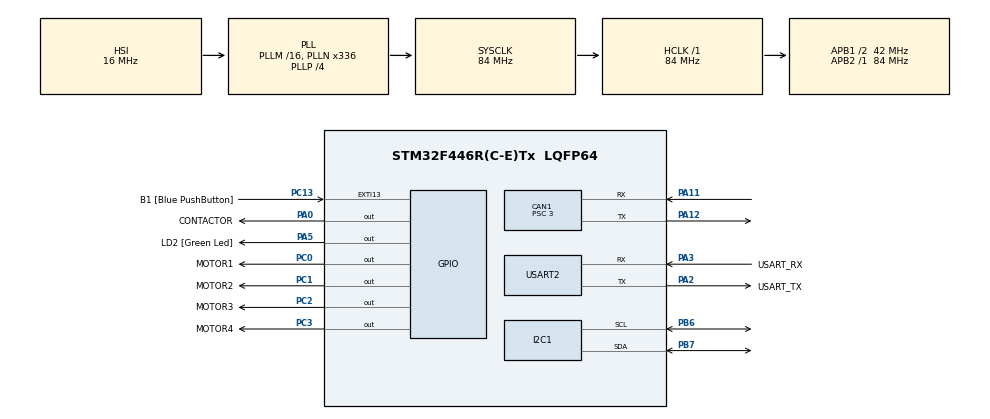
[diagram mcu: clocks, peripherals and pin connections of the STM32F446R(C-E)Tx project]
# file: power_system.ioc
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CAN1.BS1=CAN_BS1_11TQ
CAN1.BS2=CAN_BS2_2TQ
CAN1.CalculateBaudRate=1000000
CAN1.CalculateTimeBit=1000
CAN1.CalculateTimeQuantum=71.42857142857143
CAN1.Prescaler=3
I2C1.I2C_Mode=I2C_Fast
Mcu.Family=STM32F4
Mcu.Name=STM32F446R(C-E)Tx
Mcu.Package=LQFP64
NVIC.PriorityGroup=NVIC_PRIORITYGROUP_0
NVIC.USART2_IRQn=true\:0\:0\:false\:false\:true\:true\:true\:true
PA0-WKUP.GPIO_Label=CONTACTOR
PA0-WKUP.Signal=GPIO_Output
PA11.Mode=CAN_Activate
PA11.Signal=CAN1_RX
PA12.Mode=CAN_Activate
PA12.Signal=CAN1_TX
PA13.GPIO_Label=TMS
PA13.Mode=Serial_Wire
PA13.Signal=SYS_JTMS-SWDIO
PA14.GPIO_Label=TCK
PA14.Mode=Serial_Wire
PA14.Signal=SYS_JTCK-SWCLK
PA2.GPIO_Label=USART_TX
PA2.Mode=Asynchronous
PA2.Signal=USART2_TX
PA3.GPIO_Label=USART_RX
PA3.Mode=Asynchronous
PA3.Signal=USART2_RX
PA5.GPIO_Label=LD2 [Green Led]
PA5.Signal=GPIO_Output
PB3.GPIO_Label=SWO
PB3.Signal=SYS_JTDO-SWO
PB6.Mode=I2C
PB6.Signal=I2C1_SCL
PB7.Mode=I2C
PB7.Signal=I2C1_SDA
PC0.GPIO_Label=MOTOR1
PC0.Signal=GPIO_Output
PC1.GPIO_Label=MOTOR2
PC1.Signal=GPIO_Output
PC13.GPIO_Label=B1 [Blue PushButton]
PC13.GPIO_ModeDefaultEXTI=GPIO_MODE_IT_FALLING
PC13.Signal=GPXTI13
PC14-OSC32_IN.Mode=LSE-External-Oscillator
PC14-OSC32_IN.Signal=RCC_OSC32_IN
PC15-OSC32_OUT.Mode=LSE-External-Oscillator
PC15-OSC32_OUT.Signal=RCC_OSC32_OUT
PC2.GPIO_Label=MOTOR3
PC2.Signal=GPIO_Output
PC3.GPIO_Label=MOTOR4
PC3.Signal=GPIO_Output
PH0-OSC_IN.Mode=HSE-External-Oscillator
PH0-OSC_IN.Signal=RCC_OSC_IN
PH1-OSC_OUT.Mode=HSE-External-Oscillator
PH1-OSC_OUT.Signal=RCC_OSC_OUT
ProjectManager.HeapSize=0x200
ProjectManager.StackSize=0x400
ProjectManager.TargetToolchain=STM32CubeIDE
RCC.48MHZClocksFreq_Value=84000000
RCC.AHBFreq_Value=84000000
RCC.APB1CLKDivider=RCC_HCLK_DIV2
RCC.APB1Freq_Value=42000000
RCC.APB1TimFreq_Value=84000000
RCC.APB2Freq_Value=84000000
RCC.APB2TimFreq_Value=84000000
RCC.CortexFreq_Value=84000000
RCC.FLatency-AdvancedSettings=FLASH_LATENCY_2
RCC.HCLKFreq_Value=84000000
RCC.HSE_VALUE=8000000
RCC.HSI_VALUE=16000000
RCC.PLLN=336
RCC.PLLP=RCC_PLLP_DIV4
RCC.SYSCLKFreq_VALUE=84000000
RCC.SYSCLKSource=RCC_SYSCLKSOURCE_PLLCLK
RCC.USBFreq_Value=168000000
RCC.VCOOutputFreq_Value=336000000
USART2.VirtualMode=VM_ASYNC
board=NUCLEO-F446RE

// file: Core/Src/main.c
/* USER CODE BEGIN Header */
/**
  ********************************************************************************************************
  * @file           : main.c
  * @brief          : Main program body - precharge FSM + UART for Data Visualization + CAN for Dashboard
  *
  * Application entry point for the exoskeleton power architecture firmware.
  *
  * Initializes all STM32 peripherals (GPIO, USART2, I2C1, CAN1), then runs
  * three concurrent tasks in the main loop:
  *
  *   1. Precharge FSM — manages contactor/relay sequencing and fault detection.
  *   2. CAN telemetry — broadcasts INA228 sensor data to the dashboard every 100 ms.
  *   3. UART data logger — on receiving a "START,<rate>,<time>" command from the
  *      host PC, acquires bus sensor samples and streams them back as CSV for plotting by data_log.py.
  *
  ********************************************************************************************************
  */

#include "main.h"
#include "can.h"
#include "i2c.h"
#include "usart.h"
#include "gpio.h"
#include "precharge.h"
#include "ina228_driver.h"
#include "telemetry.h"
#include <stdio.h>
#include <string.h>
#include <stdlib.h>

#define CAN_TX_INTERVAL_MS = 100
#define RX_BUF_SIZE  64
#define MAX_SAMPLES  2000

/* Global variables (telemetry)*/
uint32_t last_can_tx_time = 0;

uint8_t uart_rx_byte;
volatile uint8_t uart_line_ready = 0;

char rx_buf[RX_BUF_SIZE];
int  rx_index;

int sampling_rate = 0;   // Hz
int total_time = 0;      // seconds
int num_samples = 0;

float voltage_buf[MAX_SAMPLES];
float current_buf[MAX_SAMPLES];
float power_buf[MAX_SAMPLES];

/* Private function prototypes */
void SystemClock_Config(void);

static int  Parse_Command(void);
static void Acquire_Data(void);
static void Transmit_Data(void);

int main(void)
{

  /* Reset of all peripherals, Initializes the Flash interface and the Systick. */
  HAL_Init();

  /* Configure the system clock */
  SystemClock_Config();

  /* Initialize all configured peripherals */
  MX_GPIO_Init();
  MX_USART2_UART_Init();
  MX_I2C1_Init();
  MX_CAN1_Init();

  // Initialize precharge FSM (also initializes all 5 INA228 sensors internally)
  precharge_control_init();

  // Initialize CAN telemetry
  HAL_CAN_Start(&hcan1);
  telemetry_init();

  // Uncomment to verify I2C communication
  //uint16_t id;
  //INA228_ReadManufacturerID(INA228_ADDR1, &id); // Should be 0x5449
  //HAL_UART_Transmit(&huart2, (uint16_t *)&id, 1, 100);

  /* Main Loop */
  while (1) {
    // Precharge FSM tick (sensors internally polled on SENSOR_POLL_INTERVAL_MS)
    precharge_fsm_tick();

    // CAN telemetry
    uint32_t now = HAL_GetTick();
    if (now - last_can_tx_time >= can_tx_interval_ms) {
        telemetry_tick();
        last_can_tx_time = now;
    }

    // Check for UART interrupt
    if (uart_line_ready) {
      uart_line_ready = 0; // Clear interrupt

      if (Parse_Command()) {
        const char ok[] = "OK\n"; // Response for Python script to check
        HAL_UART_Transmit(&huart2, (uint8_t *)ok, sizeof(ok) - 1, HAL_MAX_DELAY);
        Acquire_Data();
        Transmit_Data();
      } else {
        const char err[] = "ERR\n"; // Response for Python script to check
        HAL_UART_Transmit(&huart2, (uint8_t *)err, sizeof(err) - 1, HAL_MAX_DELAY);
      }
    }
  }
}

void SystemClock_Config(void)
{
  RCC_OscInitTypeDef RCC_OscInitStruct = {0};
  RCC_ClkInitTypeDef RCC_ClkInitStruct = {0};

  /** Configure the main internal regulator output voltage
  */
  __HAL_RCC_PWR_CLK_ENABLE();
  __HAL_PWR_VOLTAGESCALING_CONFIG(PWR_REGULATOR_VOLTAGE_SCALE3);

  /** Initializes the RCC Oscillators according to the specified parameters
  * in the RCC_OscInitTypeDef structure.
  */
  RCC_OscInitStruct.OscillatorType = RCC_OSCILLATORTYPE_HSI;
  RCC_OscInitStruct.HSIState = RCC_HSI_ON;
  RCC_OscInitStruct.HSICalibrationValue = RCC_HSICALIBRATION_DEFAULT;
  RCC_OscInitStruct.PLL.PLLState = RCC_PLL_ON;
  RCC_OscInitStruct.PLL.PLLSource = RCC_PLLSOURCE_HSI;
  RCC_OscInitStruct.PLL.PLLM = 16;
  RCC_OscInitStruct.PLL.PLLN = 336;
  RCC_OscInitStruct.PLL.PLLP = RCC_PLLP_DIV4;
  RCC_OscInitStruct.PLL.PLLQ = 2;
  RCC_OscInitStruct.PLL.PLLR = 2;
  if (HAL_RCC_OscConfig(&RCC_OscInitStruct) != HAL_OK)
  {
    Error_Handler();
  }

  /** Initializes the CPU, AHB and APB buses clocks
  */
  RCC_ClkInitStruct.ClockType = RCC_CLOCKTYPE_HCLK|RCC_CLOCKTYPE_SYSCLK
                              |RCC_CLOCKTYPE_PCLK1|RCC_CLOCKTYPE_PCLK2;
  RCC_ClkInitStruct.SYSCLKSource = RCC_SYSCLKSOURCE_PLLCLK;
  RCC_ClkInitStruct.AHBCLKDivider = RCC_SYSCLK_DIV1;
  RCC_ClkInitStruct.APB1CLKDivider = RCC_HCLK_DIV2;
  RCC_ClkInitStruct.APB2CLKDivider = RCC_HCLK_DIV1;

  if (HAL_RCC_ClockConfig(&RCC_ClkInitStruct, FLASH_LATENCY_2) != HAL_OK)
  {
    Error_Handler();
  }
}

/* USER CODE BEGIN 4 */

// ISR for every time 1 byte (1 char) is received
void HAL_UART_RxCpltCallback(UART_HandleTypeDef *huart) {
    if (huart->Instance == USART2) {
        if (uart_rx_byte == '\n') { 	// Detect line completion
            rx_buf[rx_index] = '\0';	// Null-terminate the string
            uart_line_ready = 1;   		// Signal to main loop
            rx_index = 0;				// Reset for next line
        } else if (rx_index < RX_BUF_SIZE - 1) {
            rx_buf[rx_index++] = (char)uart_rx_byte; // Add char to buffer
        }
        HAL_UART_Receive_IT(&huart2, &uart_rx_byte, 1); // Re-arm interrupt for next byte
    }
}

/**
  * @brief UART: Parse command "START,<rate_hz>,<time_s>"
  * @retval 1 on valid command, 0 on error
  */
static int Parse_Command(void)
{
    if (strncmp(rx_buf, "START", 5) != 0) return 0;

    char *tok = strtok(rx_buf, ",");
    tok = strtok(NULL, ",");
    if (!tok) return 0;
    sampling_rate = atoi(tok);

    tok = strtok(NULL, ",");
    if (!tok) return 0;
    total_time = atoi(tok);

    if (sampling_rate <= 0 || total_time <= 0) return 0;

    num_samples = sampling_rate * total_time;
    if (num_samples > MAX_SAMPLES)
        num_samples = MAX_SAMPLES;

    return 1;
}

/**
  * @brief UART: Acquire data from bus sensor
  *
  * To log a different sensor, change INA228_BUS + BUS_CURRENT_LSB + BUS_POWER_LSB to the desired location and LSB constants
  */
static void Acquire_Data(void)
{
	SensorData_t sensor;
	get_sensor_data(INA228_BUS, &sensor);

    if (!sensor.healthy)
    {
        FaultType_t fault = get_current_fault();
        const char *fault_msg = NULL;

        switch (fault) {
			case FAULT_BUS_OVERCURRENT:
			  fault_msg = "FAULT_BUS_OVERCURRENT\n";
			  break;
			case FAULT_BUS_OVERVOLTAGE:
			  fault_msg = "FAULT_BUS_OVERVOLTAGE\n";
			  break;
			case FAULT_BUS_UNDERVOLTAGE:
			  fault_msg = "FAULT_BUS_UNDERVOLTAGE\n";
			  break;
			case FAULT_MOTOR_OVERCURRENT:
			  fault_msg = "FAULT_MOTOR_OVERCURRENT\n";
			  break;
			default:
			  fault_msg = "FAULT_UNKNOWN\n";
			  break;
		}

        if (fault_msg)
            HAL_UART_Transmit(&huart2, (uint8_t *)fault_msg, strlen(fault_msg), HAL_MAX_DELAY);

        for (int i = 0; i < num_samples; i++)
            voltage_buf[i] = current_buf[i] = power_buf[i] = 0.0f;
        return;
    }

    uint32_t delay_ms = (sampling_rate > 0) ? (1000 / sampling_rate) : 1;

    for (int i = 0; i < num_samples; i++)
    {
    	precharge_fsm_tick();
    	get_sensor_data(INA228_BUS, &sensor);
        voltage_buf[i] = sensor.voltage;
        current_buf[i] = sensor.current;
        power_buf[i]   = sensor.power;
        HAL_Delay(delay_ms);
    }
}

/**
  * @brief UART: Transmit logged data to PC
  *
  * Format per line: voltage,current,power\n
  * Terminated with "DONE\n"
  */
static void Transmit_Data(void)
{
    char line[64];

    for (int i = 0; i < num_samples; i++)
    {
        int len = snprintf(line, sizeof(line),
                           "%.4f,%.4f,%.4f\n",
                           voltage_buf[i],
                           current_buf[i],
                           power_buf[i]);
        HAL_UART_Transmit(&huart2, (uint8_t *)line, len, HAL_MAX_DELAY);
    }

    const char done[] = "DONE\n";
    HAL_UART_Transmit(&huart2, (uint8_t *)done, sizeof(done) - 1, HAL_MAX_DELAY);
}

/* USER CODE END 4 */

void Error_Handler(void)
{
  __disable_irq();
  while (1)
  {
  }
}
